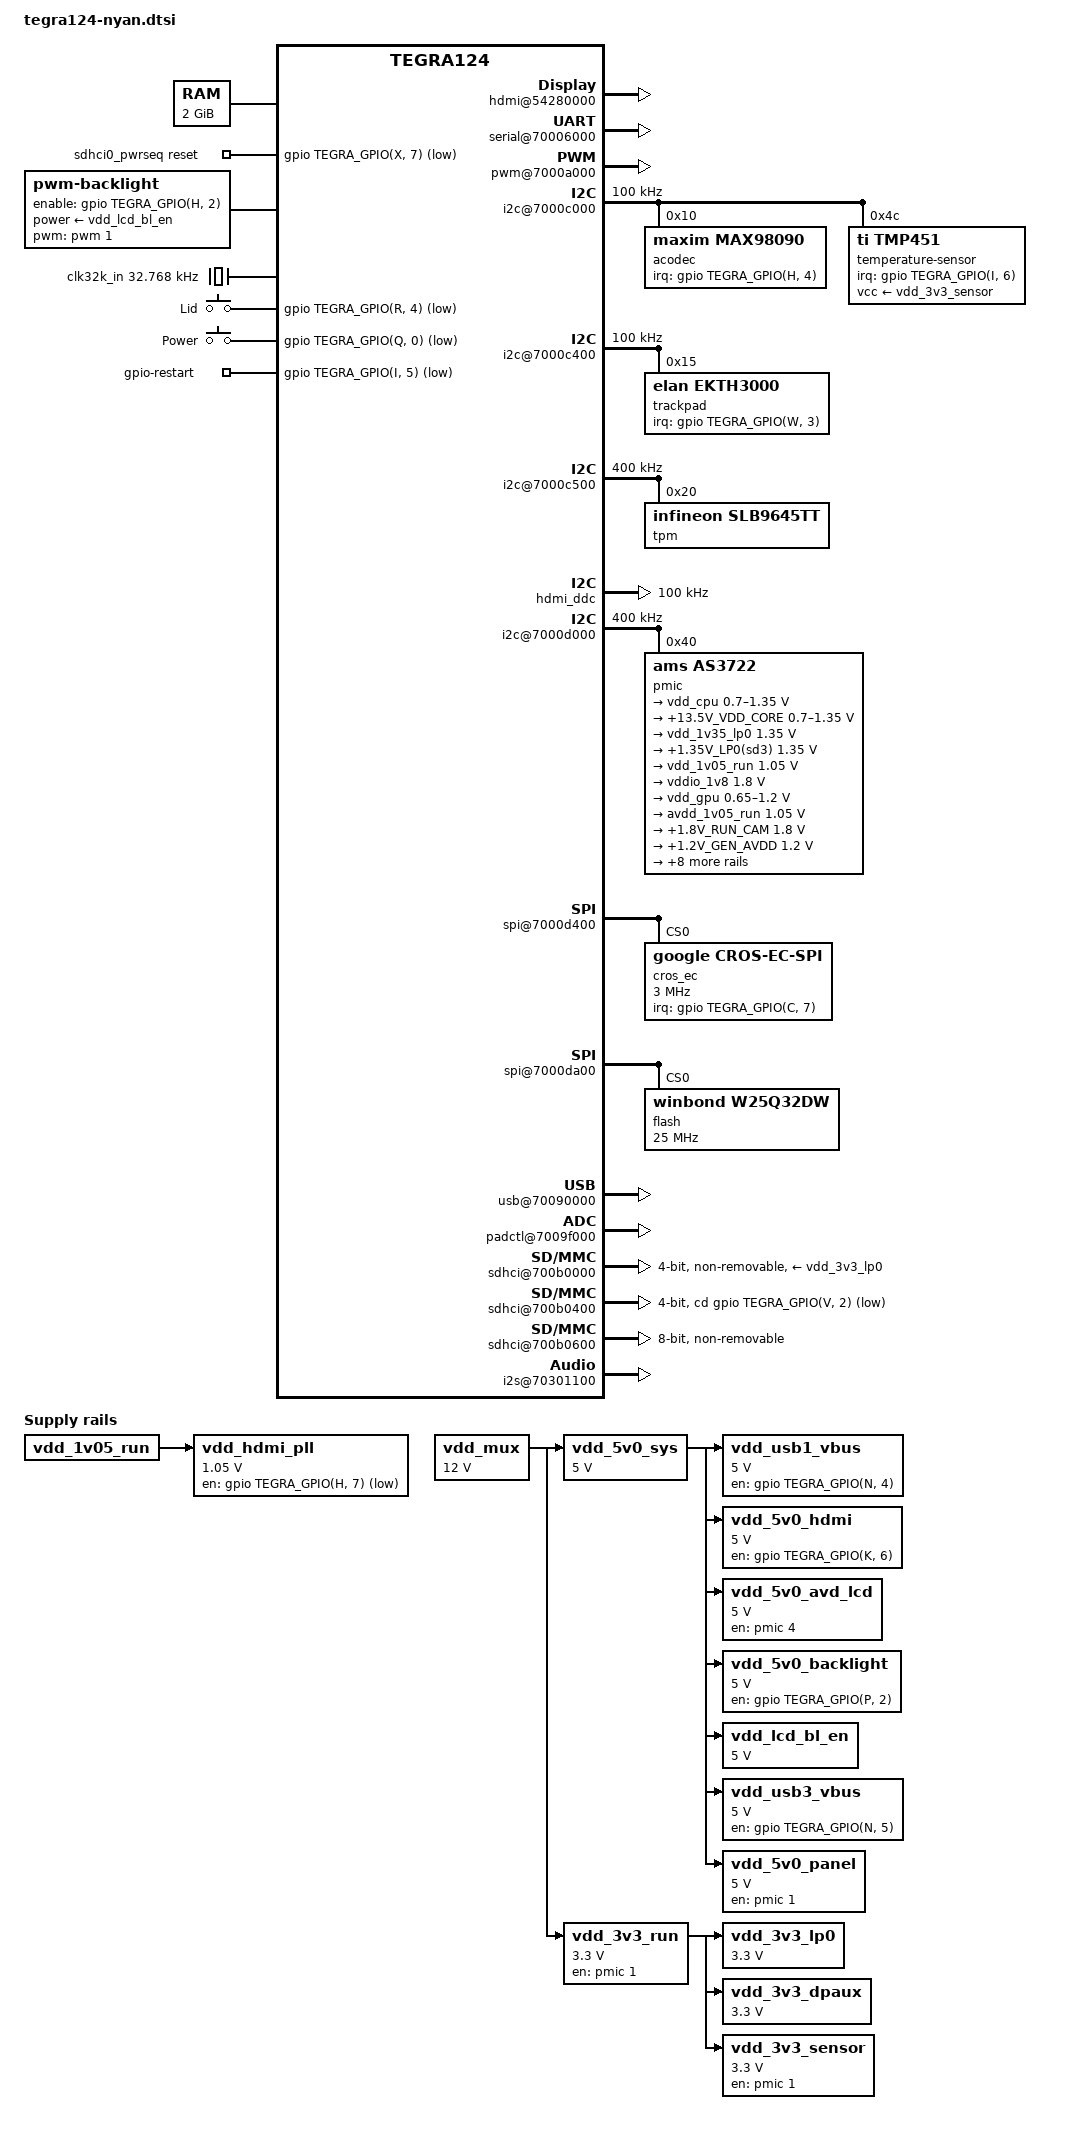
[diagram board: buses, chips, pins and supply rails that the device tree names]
// SPDX-License-Identifier: GPL-2.0
#include <dt-bindings/input/input.h>
#include "tegra124.dtsi"

/ {
	aliases {
		rtc0 = "/i2c@7000d000/pmic@40";
		rtc1 = "/rtc@7000e000";
		serial0 = &uarta;
	};

	chosen {
		stdout-path = "serial0:115200n8";
	};

	/*
	 * Note that recent version of the device tree compiler (starting with
	 * version 1.4.2) warn about this node containing a reg property, but
	 * missing a unit-address. However, the bootloader on these Chromebook
	 * devices relies on the full name of this node to be exactly /memory.
	 * Adding the unit-address causes the bootloader to create a /memory
	 * node and write the memory bank configuration to that node, which in
	 * turn leads the kernel to believe that the device has 2 GiB of
	 * memory instead of the amount detected by the bootloader.
	 *
	 * The name of this node is effectively ABI and must not be changed.
	 */
	memory {
		device_type = "memory";
		reg = <0x0 0x80000000 0x0 0x80000000>;
	};

	/delete-node/ memory@80000000;

	host1x@50000000 {
		hdmi@54280000 {
			status = "okay";
			vdd-supply = <&vdd_3v3_run>;
			pll-supply = <&vdd_hdmi_pll>;
			hdmi-supply = <&vdd_5v0_avd_lcd>;

			nvidia,ddc-i2c-bus = <&hdmi_ddc>;
			nvidia,hpd-gpio =
				<&gpio TEGRA_GPIO(N, 7) GPIO_ACTIVE_HIGH>;
		};

		sor@54540000 {
			status = "okay";
			nvidia,dpaux = <&dpaux>;
			nvidia,panel = <&panel>;
		};

		dpaux@545c0000 {
			vdd-supply = <&vdd_3v3_dpaux>;
			status = "okay";
		};
	};

	gpu@0,57000000 {
		status = "okay";

		vdd-supply = <&vdd_gpu>;
	};

	serial@70006000 {
		/* Debug connector on the bottom of the board near SD card. */
		status = "okay";
	};

	pwm@7000a000 {
		status = "okay";
	};

	i2c@7000c000 {
		status = "okay";
		clock-frequency = <100000>;

		acodec: audio-codec@10 {
			compatible = "maxim,max98090";
			reg = <0x10>;
			interrupt-parent = <&gpio>;
			interrupts = <TEGRA_GPIO(H, 4) IRQ_TYPE_EDGE_FALLING>;
		};

		temperature-sensor@4c {
			compatible = "ti,tmp451";
			reg = <0x4c>;
			interrupt-parent = <&gpio>;
			interrupts = <TEGRA_GPIO(I, 6) IRQ_TYPE_LEVEL_LOW>;
			vcc-supply = <&vdd_3v3_sensor>;
			#thermal-sensor-cells = <1>;
		};
	};

	i2c@7000c400 {
		status = "okay";
		clock-frequency = <100000>;

		trackpad@15 {
			compatible = "elan,ekth3000";
			reg = <0x15>;
			interrupt-parent = <&gpio>;
			interrupts = <TEGRA_GPIO(W, 3) IRQ_TYPE_EDGE_FALLING>;
			wakeup-source;
		};
	};

	i2c@7000c500 {
		status = "okay";
		clock-frequency = <400000>;

		tpm@20 {
			compatible = "infineon,slb9645tt";
			reg = <0x20>;
		};
	};

	hdmi_ddc: i2c@7000c700 {
		status = "okay";
		clock-frequency = <100000>;
	};

	i2c@7000d000 {
		status = "okay";
		clock-frequency = <400000>;

		pmic: pmic@40 {
			compatible = "ams,as3722";
			reg = <0x40>;
			interrupts = <0 86 IRQ_TYPE_LEVEL_HIGH>;

			ams,system-power-controller;

			#interrupt-cells = <2>;
			interrupt-controller;

			gpio-controller;
			#gpio-cells = <2>;

			pinctrl-names = "default";
			pinctrl-0 = <&as3722_default>;

			as3722_default: pinmux {
				gpio0 {
					pins = "gpio0";
					function = "gpio";
					bias-pull-down;
				};

				gpio1 {
					pins = "gpio1";
					function = "gpio";
					bias-pull-up;
				};

				gpio2_4_7 {
					pins = "gpio2", "gpio4", "gpio7";
					function = "gpio";
					bias-pull-up;
				};

				gpio3_6 {
					pins = "gpio3", "gpio6";
					bias-high-impedance;
				};

				gpio5 {
					pins = "gpio5";
					function = "clk32k-out";
					bias-pull-down;
				};
			};

			regulators {
				vsup-sd2-supply = <&vdd_5v0_sys>;
				vsup-sd3-supply = <&vdd_5v0_sys>;
				vsup-sd4-supply = <&vdd_5v0_sys>;
				vsup-sd5-supply = <&vdd_5v0_sys>;
				vin-ldo0-supply = <&vdd_1v35_lp0>;
				vin-ldo1-6-supply = <&vdd_3v3_run>;
				vin-ldo2-5-7-supply = <&vddio_1v8>;
				vin-ldo3-4-supply = <&vdd_3v3_run>;
				vin-ldo9-10-supply = <&vdd_5v0_sys>;
				vin-ldo11-supply = <&vdd_3v3_run>;

				vdd_cpu: sd0 {
					regulator-name = "+13.5V_VDD_CPU_AP";
					regulator-min-microvolt = <700000>;
					regulator-max-microvolt = <1350000>;
					regulator-min-microamp = <3500000>;
					regulator-max-microamp = <3500000>;
					regulator-always-on;
					regulator-boot-on;
					ams,ext-control = <2>;
				};

				sd1 {
					regulator-name = "+13.5V_VDD_CORE";
					regulator-min-microvolt = <700000>;
					regulator-max-microvolt = <1350000>;
					regulator-min-microamp = <2500000>;
					regulator-max-microamp = <4000000>;
					regulator-always-on;
					regulator-boot-on;
					ams,ext-control = <1>;
				};

				vdd_1v35_lp0: sd2 {
					regulator-name = "+1.35V_LP0(sd2)";
					regulator-min-microvolt = <1350000>;
					regulator-max-microvolt = <1350000>;
					regulator-always-on;
					regulator-boot-on;
				};

				sd3 {
					regulator-name = "+1.35V_LP0(sd3)";
					regulator-min-microvolt = <1350000>;
					regulator-max-microvolt = <1350000>;
					regulator-always-on;
					regulator-boot-on;
				};

				vdd_1v05_run: sd4 {
					regulator-name = "+1.05V_RUN";
					regulator-min-microvolt = <1050000>;
					regulator-max-microvolt = <1050000>;
				};

				vddio_1v8: sd5 {
					regulator-name = "+1.8V_VDDIO";
					regulator-min-microvolt = <1800000>;
					regulator-max-microvolt = <1800000>;
					regulator-always-on;
				};

				vdd_gpu: sd6 {
					regulator-name = "+12V_VDD_GPU_AP";
					regulator-min-microvolt = <650000>;
					regulator-max-microvolt = <1200000>;
					regulator-min-microamp = <3500000>;
					regulator-max-microamp = <3500000>;
					regulator-boot-on;
					regulator-always-on;
				};

				avdd_1v05_run: ldo0 {
					regulator-name = "+1.05V_RUN_AVDD";
					regulator-min-microvolt = <1050000>;
					regulator-max-microvolt = <1050000>;
					regulator-boot-on;
					regulator-always-on;
					ams,ext-control = <1>;
				};

				ldo1 {
					regulator-name = "+1.8V_RUN_CAM";
					regulator-min-microvolt = <1800000>;
					regulator-max-microvolt = <1800000>;
				};

				ldo2 {
					regulator-name = "+1.2V_GEN_AVDD";
					regulator-min-microvolt = <1200000>;
					regulator-max-microvolt = <1200000>;
					regulator-boot-on;
					regulator-always-on;
				};

				ldo3 {
					regulator-name = "+1.00V_LP0_VDD_RTC";
					regulator-min-microvolt = <1000000>;
					regulator-max-microvolt = <1000000>;
					regulator-boot-on;
					regulator-always-on;
					ams,enable-tracking;
				};

				vdd_run_cam: ldo4 {
					regulator-name = "+3.3V_RUN_CAM";
					regulator-min-microvolt = <2800000>;
					regulator-max-microvolt = <2800000>;
				};

				ldo5 {
					regulator-name = "+1.2V_RUN_CAM_FRONT";
					regulator-min-microvolt = <1200000>;
					regulator-max-microvolt = <1200000>;
				};

				vddio_sdmmc3: ldo6 {
					regulator-name = "+3.3V_VDDIO_SDMMC3";
					regulator-min-microvolt = <1800000>;
					regulator-max-microvolt = <3300000>;
				};

				ldo7 {
					regulator-name = "+1.05V_RUN_CAM_REAR";
					regulator-min-microvolt = <1050000>;
					regulator-max-microvolt = <1050000>;
				};

				ldo9 {
					regulator-name = "+2.8V_RUN_TOUCH";
					regulator-min-microvolt = <2800000>;
					regulator-max-microvolt = <2800000>;
				};

				ldo10 {
					regulator-name = "+2.8V_RUN_CAM_AF";
					regulator-min-microvolt = <2800000>;
					regulator-max-microvolt = <2800000>;
				};

				ldo11 {
					regulator-name = "+1.8V_RUN_VPP_FUSE";
					regulator-min-microvolt = <1800000>;
					regulator-max-microvolt = <1800000>;
				};
			};
		};
	};

	spi@7000d400 {
		status = "okay";

		cros_ec: cros-ec@0 {
			compatible = "google,cros-ec-spi";
			spi-max-frequency = <3000000>;
			interrupt-parent = <&gpio>;
			interrupts = <TEGRA_GPIO(C, 7) IRQ_TYPE_LEVEL_LOW>;
			reg = <0>;

			google,cros-ec-spi-msg-delay = <2000>;

			i2c-tunnel {
				compatible = "google,cros-ec-i2c-tunnel";
				#address-cells = <1>;
				#size-cells = <0>;

				google,remote-bus = <0>;

				charger: bq24735@9 {
					compatible = "ti,bq24735";
					reg = <0x9>;
					interrupt-parent = <&gpio>;
					interrupts = <TEGRA_GPIO(J, 0)
							IRQ_TYPE_EDGE_BOTH>;
					ti,ac-detect-gpios = <&gpio
							TEGRA_GPIO(J, 0)
							GPIO_ACTIVE_HIGH>;
					ti,external-control;
				};

				battery: sbs-battery@b {
					compatible = "sbs,sbs-battery";
					reg = <0xb>;
					sbs,i2c-retry-count = <2>;
					sbs,poll-retry-count = <10>;
					power-supplies = <&charger>;
				};
			};
		};
	};

	spi@7000da00 {
		status = "okay";
		spi-max-frequency = <25000000>;

		flash@0 {
			compatible = "winbond,w25q32dw";
			spi-max-frequency = <25000000>;
			reg = <0>;
		};
	};

	pmc@7000e400 {
		nvidia,invert-interrupt;
		nvidia,suspend-mode = <0>;
		nvidia,cpu-pwr-good-time = <500>;
		nvidia,cpu-pwr-off-time = <300>;
		nvidia,core-pwr-good-time = <641 3845>;
		nvidia,core-pwr-off-time = <61036>;
		nvidia,core-power-req-active-high;
		nvidia,sys-clock-req-active-high;
	};

	hda@70030000 {
		status = "okay";
	};

	usb@70090000 {
		phys = <&{/padctl@7009f000/pads/usb2/lanes/usb2-0}>, /* 1st USB A */
		       <&{/padctl@7009f000/pads/usb2/lanes/usb2-1}>, /* Internal USB */
		       <&{/padctl@7009f000/pads/usb2/lanes/usb2-2}>, /* 2nd USB A */
		       <&{/padctl@7009f000/pads/pcie/lanes/pcie-0}>, /* 1st USB A */
		       <&{/padctl@7009f000/pads/pcie/lanes/pcie-1}>; /* 2nd USB A */
		phy-names = "usb2-0", "usb2-1", "usb2-2", "usb3-0", "usb3-1";

		avddio-pex-supply = <&vdd_1v05_run>;
		dvddio-pex-supply = <&vdd_1v05_run>;
		avdd-usb-supply = <&vdd_3v3_lp0>;
		avdd-pll-utmip-supply = <&vddio_1v8>;
		avdd-pll-erefe-supply = <&avdd_1v05_run>;
		avdd-usb-ss-pll-supply = <&vdd_1v05_run>;
		hvdd-usb-ss-supply = <&vdd_3v3_lp0>;
		hvdd-usb-ss-pll-e-supply = <&vdd_3v3_lp0>;

		status = "okay";
	};

	padctl@7009f000 {
		status = "okay";

		pads {
			usb2 {
				status = "okay";

				lanes {
					usb2-0 {
						nvidia,function = "xusb";
						status = "okay";
					};

					usb2-1 {
						nvidia,function = "xusb";
						status = "okay";
					};

					usb2-2 {
						nvidia,function = "xusb";
						status = "okay";
					};
				};
			};

			pcie {
				status = "okay";

				lanes {
					pcie-0 {
						nvidia,function = "usb3-ss";
						status = "okay";
					};

					pcie-1 {
						nvidia,function = "usb3-ss";
						status = "okay";
					};
				};
			};
		};

		ports {
			usb2-0 {
				vbus-supply = <&vdd_usb1_vbus>;
				status = "okay";
				mode = "otg";
			};

			usb2-1 {
				vbus-supply = <&vdd_run_cam>;
				status = "okay";
				mode = "host";
			};

			usb2-2 {
				vbus-supply = <&vdd_usb3_vbus>;
				status = "okay";
				mode = "host";
			};

			usb3-0 {
				nvidia,usb2-companion = <0>;
				status = "okay";
			};

			usb3-1 {
				nvidia,usb2-companion = <1>;
				status = "okay";
			};
		};
	};

	sdhci0_pwrseq: sdhci0_pwrseq {
		compatible = "mmc-pwrseq-simple";

		reset-gpios = <&gpio TEGRA_GPIO(X, 7) GPIO_ACTIVE_LOW>;
	};

	sdhci1_pwrseq: sdhci1_pwrseq {
		compatible = "mmc-pwrseq-simple";
	};

	sdhci@700b0000 { /* WiFi/BT on this bus */
		status = "okay";
		bus-width = <4>;
		no-1-8-v;
		non-removable;
		mmc-pwrseq = <&sdhci0_pwrseq>;
		vmmc-supply = <&vdd_3v3_lp0>;
		vqmmc-supply = <&vddio_1v8>;
		keep-power-in-suspend;
	};

	sdhci@700b0400 { /* SD Card on this bus */
		status = "okay";
		cd-gpios = <&gpio TEGRA_GPIO(V, 2) GPIO_ACTIVE_LOW>;
		power-gpios = <&gpio TEGRA_GPIO(R, 0) GPIO_ACTIVE_HIGH>;
		bus-width = <4>;
		no-1-8-v;
		vqmmc-supply = <&vddio_sdmmc3>;
		mmc-pwrseq = <&sdhci1_pwrseq>;
	};

	sdhci@700b0600 { /* eMMC on this bus */
		status = "okay";
		bus-width = <8>;
		no-1-8-v;
		non-removable;
	};

	/* CPU DFLL clock */
	clock@70110000 {
		status = "disabled";
		vdd-cpu-supply = <&vdd_cpu>;
		nvidia,i2c-fs-rate = <400000>;
	};

	ahub@70300000 {
		i2s@70301100 {
			status = "okay";
		};
	};

	backlight: backlight {
		compatible = "pwm-backlight";

		enable-gpios = <&gpio TEGRA_GPIO(H, 2) GPIO_ACTIVE_HIGH>;
		power-supply = <&vdd_lcd_bl_en>;
		pwms = <&pwm 1 1000000>;
		status = "okay";
		name = "backlight";
		post-pwm-on-delay-ms = <20>;
		brightness-levels = <0x00 0x01 0x02 0x03
					0x04 0x05 0x06 0x07
					0x08 0x09 0x0a 0x0b
					0x0c 0x0d 0x0e 0x0f
					0x10 0x11 0x12 0x13
					0x14 0x15 0x16 0x17
					0x18 0x19 0x1a 0x1b
					0x1c 0x1d 0x1e 0x1f
					0x20 0x21 0x22 0x23
					0x24 0x25 0x26 0x27
					0x28 0x29 0x2a 0x2b
					0x2c 0x2d 0x2e 0x2f
					0x30 0x31 0x32 0x33
					0x34 0x35 0x36 0x37
					0x38 0x39 0x3a 0x3b
					0x3c 0x3d 0x3e 0x3f
					0x40 0x41 0x42 0x43
					0x44 0x45 0x46 0x47
					0x48 0x49 0x4a 0x4b
					0x4c 0x4d 0x4e 0x4f
					0x50 0x51 0x52 0x53
					0x54 0x55 0x56 0x57
					0x58 0x59 0x5a 0x5b
					0x5c 0x5d 0x5e 0x5f
					0x60 0x61 0x62 0x63
					0x64 0x65 0x66 0x67
					0x68 0x69 0x6a 0x6b
					0x6c 0x6d 0x6e 0x6f
					0x70 0x71 0x72 0x73
					0x74 0x75 0x76 0x77
					0x78 0x79 0x7a 0x7b
					0x7c 0x7d 0x7e 0x7f
					0x80 0x81 0x82 0x83
					0x84 0x85 0x86 0x87
					0x88 0x89 0x8a 0x8b
					0x8c 0x8d 0x8e 0x8f
					0x90 0x91 0x92 0x93
					0x94 0x95 0x96 0x97
					0x98 0x99 0x9a 0x9b
					0x9c 0x9d 0x9e 0x9f
					0xa0 0xa1 0xa2 0xa3
					0xa4 0xa5 0xa6 0xa7
					0xa8 0xa9 0xaa 0xab
					0xac 0xad 0xae 0xaf
					0xb0 0xb1 0xb2 0xb3
					0xb4 0xb5 0xb6 0xb7
					0xb8 0xb9 0xba 0xbb
					0xbc 0xbd 0xbe 0xbf
					0xc0 0xc1 0xc2 0xc3
					0xc4 0xc5 0xc6 0xc7
					0xc8 0xc9 0xca 0xcb
					0xcc 0xcd 0xce 0xcf
					0xd0 0xd1 0xd2 0xd3
					0xd4 0xd5 0xd6 0xd7
					0xd8 0xd9 0xda 0xdb
					0xdc 0xdd 0xde 0xdf
					0xe0 0xe1 0xe2 0xe3
					0xe4 0xe5 0xe6 0xe7
					0xe8 0xe9 0xea 0xeb
					0xec 0xed 0xee 0xef
					0xf0 0xf1 0xf2 0xf3
					0xf4 0xf5 0xf6 0xf7
					0xf8 0xf9 0xfa 0xfb
					0xfc 0xfd 0xfe 0xff
					0x100>;
			default-brightness-level = <224>;

		panel@0 {
			compatible = "pwm-backlight-alt-brightness-levels";
			name = "panel";
			identifier = "AUO-132c-0";
			brightness-levels = <0x00 0x01 0x02
						0x02 0x04 0x05 0x06
						0x06 0x07 0x08 0x09
						0x0a 0x0a 0x0b 0x0c
						0x0d 0x0e 0x0f 0x0f
						0x10 0x11 0x12 0x13
						0x14 0x14 0x15 0x16
						0x17 0x18 0x19 0x19
						0x1a 0x1b 0x1c 0x1d
						0x1e 0x1e 0x1f 0x20
						0x21 0x22 0x23 0x23
						0x24 0x25 0x26 0x27
						0x28 0x28 0x29 0x2a
						0x2b 0x2c 0x2d 0x2d
						0x2e 0x2f 0x30 0x31
						0x32 0x32 0x33 0x34
						0x35 0x36 0x37 0x37
						0x38 0x39 0x3a 0x3b
						0x3c 0x3c 0x3d 0x3e
						0x3f 0x40 0x41 0x41
						0x42 0x43 0x44 0x45
						0x46 0x46 0x47 0x48
						0x49 0x4a 0x4b 0x4c
						0x4d 0x4d 0x4e 0x4f
						0x50 0x51 0x52 0x52
						0x53 0x54 0x55 0x56
						0x57 0x58 0x59 0x5a
						0x5b 0x5c 0x5d 0x5f
						0x5f 0x60 0x62 0x62
						0x64 0x65 0x66 0x67
						0x68 0x69 0x6a 0x6b
						0x6c 0x6e 0x6f 0x70
						0x71 0x72 0x73 0x74
						0x75 0x76 0x77 0x79
						0x79 0x7b 0x7c 0x7d
						0x7e 0x7f 0x80 0x81
						0x82 0x84 0x85 0x86
						0x87 0x88 0x89 0x8a
						0x8b 0x8d 0x8d 0x8f
						0x90 0x91 0x92 0x93
						0x94 0x95 0x96 0x97
						0x98 0x9a 0x9b 0x9c
						0x9d 0x9e 0x9f 0xa0
						0xa1 0xa2 0xa4 0xa5
						0xa6 0xa7 0xa8 0xa9
						0xaa 0xab 0xac 0xad
						0xaf 0xb0 0xb1 0xb2
						0xb3 0xb4 0xb6 0xb7
						0xb7 0xb8 0xba 0xbb
						0xbc 0xbd 0xbe 0xc0
						0xc1 0xc1 0xc2 0xc3
						0xc5 0xc6 0xc7 0xc8
						0xc9 0xca 0xcc 0xcc
						0xce 0xcf 0xd0 0xd1
						0xd2 0xd3 0xd4 0xd5
						0xd6 0xd8 0xd9 0xda
						0xdb 0xdc 0xde 0xdf
						0xe0 0xe1 0xe2 0xe3
						0xe4 0xe6 0xe6 0xe8
						0xe9 0xea 0xeb 0xec
						0xed 0xee 0xef 0xf1
						0xf2 0xf3 0xf4 0xf5
						0xf6 0xf7 0xf9 0xfa
						0xfb 0xfc 0xfd 0xfe
						0xff 0x100>;
		};

		panel@1 {
			compatible = "pwm-backlight-alt-brightness-levels";
			name = "panel";
			brightness-levels = <0x00 0x01
						0x02 0x03 0x03 0x04
						0x05 0x06 0x06 0x07
						0x08 0x09 0x09 0x0a
						0x0b 0x0c 0x0c 0x0d
						0x0e 0x0e 0x0f 0x10
						0x11 0x11 0x12 0x13
						0x13 0x14 0x15 0x16
						0x17 0x17 0x18 0x19
						0x19 0x1a 0x1b 0x1c
						0x1c 0x1d 0x1e 0x1f
						0x1f 0x20 0x21 0x22
						0x22 0x23 0x24 0x25
						0x25 0x26 0x27 0x27
						0x28 0x29 0x2a 0x2a
						0x2b 0x2c 0x2d 0x2e
						0x2e 0x2f 0x30 0x30
						0x31 0x32 0x33 0x33
						0x34 0x35 0x36 0x36
						0x37 0x38 0x38 0x39
						0x3a 0x3b 0x3b 0x3c
						0x3d 0x3d 0x3e 0x3f
						0x40 0x40 0x41 0x42
						0x43 0x44 0x44 0x45
						0x46 0x47 0x47 0x48
						0x49 0x4a 0x4a 0x4b
						0x4c 0x4d 0x4e 0x4f
						0x50 0x51 0x52 0x53
						0x54 0x55 0x56 0x57
						0x59 0x5a 0x5a 0x5c
						0x5d 0x5e 0x5f 0x60
						0x62 0x62 0x64 0x65
						0x65 0x67 0x68 0x69
						0x6a 0x6b 0x6c 0x6d
						0x6e 0x6f 0x71 0x72
						0x73 0x74 0x75 0x76
						0x77 0x79 0x7a 0x7b
						0x7c 0x7d 0x7e 0x7f
						0x80 0x81 0x82 0x83
						0x85 0x86 0x87 0x88
						0x89 0x8a 0x8c 0x8d
						0x8e 0x8f 0x90 0x92
						0x93 0x94 0x95 0x96
						0x97 0x98 0x9a 0x9b
						0x9c 0x9d 0x9e 0x9f
						0xa1 0xa2 0xa3 0xa4
						0xa5 0xa7 0xa8 0xa9
						0xaa 0xab 0xac 0xad
						0xaf 0xb0 0xb1 0xb2
						0xb4 0xb5 0xb6 0xb7
						0xb9 0xb9 0xbb 0xbc
						0xbd 0xbe 0xbf 0xc0
						0xc2 0xc3 0xc5 0xc5
						0xc7 0xc8 0xc9 0xca
						0xcc 0xcd 0xce 0xcf
						0xd0 0xd2 0xd3 0xd5
						0xd5 0xd7 0xd8 0xd9
						0xda 0xdc 0xdd 0xde
						0xdf 0xe1 0xe2 0xe3
						0xe4 0xe5 0xe6 0xe7
						0xe9 0xea 0xeb 0xed
						0xee 0xef 0xf0 0xf2
						0xf3 0xf4 0xf5 0xf6
						0xf8 0xf9 0xfa 0xfb
						0xfd 0xfe 0x100>;
				identifier = "AUO-112d-0";
		};
	};

	clocks {
		compatible = "simple-bus";
		#address-cells = <1>;
		#size-cells = <0>;

		clk32k_in: clock@0 {
			compatible = "fixed-clock";
			reg = <0>;
			#clock-cells = <0>;
			clock-frequency = <32768>;
		};
	};

	cpus {
		cpu@0 {
			vdd-cpu-supply = <&vdd_cpu>;
		};
	};

	gpio-keys {
		compatible = "gpio-keys";

		lid {
			label = "Lid";
			gpios = <&gpio TEGRA_GPIO(R, 4) GPIO_ACTIVE_LOW>;
			linux,input-type = <5>;
			linux,code = <KEY_RESERVED>;
			debounce-interval = <1>;
			wakeup-source;
			status = "okay";
		};

		power {
			label = "Power";
			gpios = <&gpio TEGRA_GPIO(Q, 0) GPIO_ACTIVE_LOW>;
			linux,code = <KEY_POWER>;
			debounce-interval = <30>;
			wakeup-source;
			status = "okay";
		};
	};

	regulators {
		compatible = "simple-bus";
		#address-cells = <1>;
		#size-cells = <0>;

		vdd_mux: regulator@0 {
			compatible = "regulator-fixed";
			reg = <0>;
			regulator-name = "+VDD_MUX";
			regulator-min-microvolt = <12000000>;
			regulator-max-microvolt = <12000000>;
			regulator-always-on;
			regulator-boot-on;
		};

		vdd_5v0_sys: regulator@1 {
			compatible = "regulator-fixed";
			reg = <1>;
			regulator-name = "+5V_SYS";
			regulator-min-microvolt = <5000000>;
			regulator-max-microvolt = <5000000>;
			regulator-always-on;
			regulator-boot-on;
			vin-supply = <&vdd_mux>;
		};

		vdd_usb1_vbus: regulator@2 {
			compatible = "regulator-fixed";
			reg = <2>;
			regulator-name = "+5V_USB_HS";
			regulator-min-microvolt = <5000000>;
			regulator-max-microvolt = <5000000>;
			gpio = <&gpio TEGRA_GPIO(N, 4) GPIO_ACTIVE_HIGH>;
			enable-active-high;
			gpio-open-drain;
			vin-supply = <&vdd_5v0_sys>;
		};

		vdd_3v3_run: regulator@3 {
			compatible = "regulator-fixed";
			reg = <3>;
			regulator-name = "+3.3V_RUN";
			regulator-min-microvolt = <3300000>;
			regulator-max-microvolt = <3300000>;
			regulator-always-on;
			regulator-boot-on;
			gpio = <&pmic 1 GPIO_ACTIVE_HIGH>;
			enable-active-high;
			vin-supply = <&vdd_mux>;
		};

		vdd_5v0_hdmi: regulator@4 {
			compatible = "regulator-fixed";
			reg = <4>;
			regulator-name = "+3.3V_AVDD_HDMI_AP_GATED";
			regulator-min-microvolt = <5000000>;
			regulator-max-microvolt = <5000000>;
			gpio = <&gpio TEGRA_GPIO(K, 6) GPIO_ACTIVE_HIGH>;
			vin-supply = <&vdd_5v0_sys>;
			enable-active-high;
			regulator-boot-on;
		};

		vdd_5v0_avd_lcd: regulator@5 {
			compatible = "regulator-fixed";
			reg = <5>;
			regulator-name = "+5.0V_AVD_LCD";
			enable-active-high;
			regulator-boot-on;
			gpio = <&pmic 4 GPIO_ACTIVE_HIGH>;
			regulator-min-microvolt = <5000000>;
			regulator-max-microvolt = <5000000>;
			vin-supply = <&vdd_5v0_sys>;
		};

		vdd_5v0_backlight: regulator@6 {
			compatible = "regulator-fixed";
			reg = <6>;
			regulator-name = "+5V_VDD_BACKLIGHT";
			regulator-min-microvolt = <5000000>;
			regulator-max-microvolt = <5000000>;
			enable-active-high;
			regulator-boot-on;
			gpio = <&gpio TEGRA_GPIO(P, 2) GPIO_ACTIVE_HIGH>;
			vin-supply = <&vdd_5v0_sys>;
		};

		vdd_lcd_bl_en: regulator@7 {
			compatible = "regulator-fixed";
			reg = <7>;
			regulator-name = "+5V_USB_HS";
			regulator-min-microvolt = <5000000>;
			regulator-max-microvolt = <5000000>;
			//handled in backlight
			//gpio = <&gpio TEGRA_GPIO(H, 2) GPIO_ACTIVE_HIGH>;
			enable-active-high;
			regulator-boot-on;
			vin-supply = <&vdd_5v0_sys>;
		};

		vdd_usb3_vbus: regulator@8 {
			compatible = "regulator-fixed";
			reg = <8>;
			regulator-name = "+5V_USB_SS";
			regulator-min-microvolt = <5000000>;
			regulator-max-microvolt = <5000000>;
			gpio = <&gpio TEGRA_GPIO(N, 5) GPIO_ACTIVE_HIGH>;
			enable-active-high;
			gpio-open-drain;
			vin-supply = <&vdd_5v0_sys>;
		};

		vdd_5v0_panel: regulator@9 {
			compatible = "regulator-fixed";
			reg = <9>;
			regulator-name = "+5V0_PANEL";
			regulator-min-microvolt = <5000000>;
			regulator-max-microvolt = <5000000>;
			gpio = <&pmic 1 GPIO_ACTIVE_HIGH>;
			enable-active-high;
			regulator-boot-on;
			vin-supply = <&vdd_5v0_sys>;
		};

		vdd_3v3_lp0: regulator@10 {
			compatible = "regulator-fixed";
			reg = <10>;
			regulator-name = "+3.3V_LP0";
			regulator-min-microvolt = <3300000>;
			regulator-max-microvolt = <3300000>;
			/*
			 * TODO: find a way to wire this up with the USB EHCI
			 * controllers so that it can be enabled on demand.
			 */
			regulator-always-on;
			enable-active-high;
			vin-supply = <&vdd_3v3_run>;
		};

		vdd_hdmi_pll: regulator@11 {
			compatible = "regulator-fixed";
			reg = <11>;
			regulator-name = "+1.05V_RUN_AVDD_HDMI_PLL";
			regulator-min-microvolt = <1050000>;
			regulator-max-microvolt = <1050000>;
			gpio = <&gpio TEGRA_GPIO(H, 7) GPIO_ACTIVE_LOW>;
			vin-supply = <&vdd_1v05_run>;
			regulator-boot-on;
		};

		vdd_3v3_dpaux: regulator@12 {
			compatible = "regulator-fixed";
			reg = <12>;
			regulator-name = "+3V3_DPAUX_CON";
			regulator-min-microvolt = <3300000>;
			regulator-max-microvolt = <3300000>;
			vin-supply = <&vdd_3v3_run>;
			regulator-boot-on;
			regulator-enable-always-on;
		};

		vdd_3v3_sensor: regulator@13 {
			compatible = "regulator-fixed";
			reg = <13>;
			regulator-name = "+3V3_SENSOR";
			regulator-min-microvolt = <3300000>;
			regulator-max-microvolt = <3300000>;
			gpio = <&pmic 1 GPIO_ACTIVE_HIGH>;
			enable-active-high;
			vin-supply = <&vdd_3v3_run>;
		};
	};

	sound {
		nvidia,audio-routing =
			"Headphones", "HPR",
			"Headphones", "HPL",
			"Speakers", "SPKR",
			"Speakers", "SPKL",
			"Mic Jack", "MICBIAS",
			"DMICL", "Int Mic",
			"DMICR", "Int Mic",
			"IN34", "Mic Jack";

		nvidia,i2s-controller = <&tegra_i2s1>;
		nvidia,audio-codec = <&acodec>;

		clocks = <&tegra_car TEGRA124_CLK_PLL_A>,
			 <&tegra_car TEGRA124_CLK_PLL_A_OUT0>,
			 <&tegra_car TEGRA124_CLK_EXTERN1>;
		clock-names = "pll_a", "pll_a_out0", "mclk";

		nvidia,hp-det-gpios = <&gpio TEGRA_GPIO(I, 7) GPIO_ACTIVE_HIGH>;
		nvidia,mic-det-gpios =
				<&gpio TEGRA_GPIO(R, 7) GPIO_ACTIVE_HIGH>;
	};

	gpio-restart {
		compatible = "gpio-restart";
		gpios = <&gpio TEGRA_GPIO(I, 5) GPIO_ACTIVE_LOW>;
		priority = <200>;
	};
};

#include "cros-ec-keyboard.dtsi"
